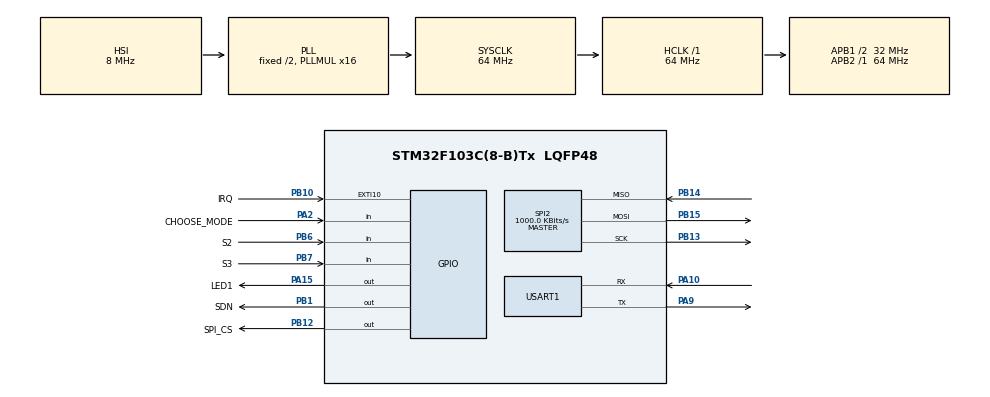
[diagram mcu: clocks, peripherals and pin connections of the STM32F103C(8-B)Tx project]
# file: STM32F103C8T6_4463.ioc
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Mcu.Family=STM32F1
Mcu.Name=STM32F103C(8-B)Tx
Mcu.Package=LQFP48
NVIC.EXTI15_10_IRQn=true\:0\:0\:false\:false\:true\:true\:true\:true
NVIC.PriorityGroup=NVIC_PRIORITYGROUP_4
PA10.Mode=Asynchronous
PA10.Signal=USART1_RX
PA13.Mode=Serial_Wire
PA13.Signal=SYS_JTMS-SWDIO
PA14.Mode=Serial_Wire
PA14.Signal=SYS_JTCK-SWCLK
PA15.GPIO_Label=LED1
PA15.GPIO_Speed=GPIO_SPEED_FREQ_LOW
PA15.PinState=GPIO_PIN_SET
PA15.Signal=GPIO_Output
PA2.GPIO_Label=CHOOSE_MODE
PA2.GPIO_PuPd=GPIO_PULLUP
PA2.Signal=GPIO_Input
PA9.Mode=Asynchronous
PA9.Signal=USART1_TX
PB1.GPIO_Label=SDN
PB1.GPIO_Speed=GPIO_SPEED_FREQ_HIGH
PB1.Signal=GPIO_Output
PB10.GPIO_Label=IRQ
PB10.GPIO_ModeDefaultEXTI=GPIO_MODE_IT_FALLING
PB10.GPIO_PuPd=GPIO_PULLUP
PB10.Signal=GPXTI10
PB12.GPIO_Label=SPI_CS
PB12.GPIO_Speed=GPIO_SPEED_FREQ_HIGH
PB12.PinState=GPIO_PIN_SET
PB12.Signal=GPIO_Output
PB13.Mode=Full_Duplex_Master
PB13.Signal=SPI2_SCK
PB14.Mode=Full_Duplex_Master
PB14.Signal=SPI2_MISO
PB15.Mode=Full_Duplex_Master
PB15.Signal=SPI2_MOSI
PB6.GPIO_Label=S2
PB6.GPIO_PuPd=GPIO_PULLUP
PB6.Signal=GPIO_Input
PB7.GPIO_Label=S3
PB7.GPIO_PuPd=GPIO_PULLUP
PB7.Signal=GPIO_Input
ProjectManager.HeapSize=0x200
ProjectManager.StackSize=0x400
ProjectManager.TargetToolchain=STM32CubeIDE
RCC.AHBFreq_Value=64000000
RCC.APB1CLKDivider=RCC_HCLK_DIV2
RCC.APB1Freq_Value=32000000
RCC.APB1TimFreq_Value=64000000
RCC.APB2Freq_Value=64000000
RCC.APB2TimFreq_Value=64000000
RCC.HCLKFreq_Value=64000000
RCC.PLLMUL=RCC_PLL_MUL16
RCC.SYSCLKFreq_VALUE=64000000
RCC.SYSCLKSource=RCC_SYSCLKSOURCE_PLLCLK
RCC.USBFreq_Value=64000000
SPI2.BaudRatePrescaler=SPI_BAUDRATEPRESCALER_32
SPI2.CalculateBaudRate=1000.0 KBits/s
SPI2.Direction=SPI_DIRECTION_2LINES
SPI2.Mode=SPI_MODE_MASTER
SPI2.VirtualType=VM_MASTER
USART1.VirtualMode=VM_ASYNC
board=custom

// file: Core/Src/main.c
/* USER CODE BEGIN Header */
/**
 ******************************************************************************
 * @file           : main.c
 * @brief          : Wf4463 无线收发
 *                   发送端 / 接收端 由 CHOOSE_MODE 引脚电平切换（高=TX，低=RX）
 ******************************************************************************
 */
/* USER CODE END Header */
#include "main.h"
#include "spi.h"
#include "usart.h"
#include "gpio.h"

/* USER CODE BEGIN Includes */

#include <stdio.h>
#include <string.h>
#include "wf4463_app.h"

/* USER CODE END Includes */

/* USER CODE BEGIN PTD */

/* 单个按键的运行时状态 */
typedef struct
{
    GPIO_TypeDef *port;        /* 端口 */
    uint16_t      pin;         /* 引脚 */
    const char   *name;        /* 打印用名字 */
    uint8_t       raw;         /* 上一次采样电平：0=按下 1=松开 */
    uint8_t       stable;      /* 消抖确认后的电平 */
    uint32_t      changeTick;  /* 采样电平最后一次变化的时刻 */
    uint32_t      downTick;    /* 本次按下的时刻（用于算按住时长） */
} Key_t;

/* USER CODE END PTD */

/* USER CODE BEGIN PD */

/* ============================================================
 * 角色选择（硬件跳线，单脚）：
 *   CHOOSE_MODE 高电平 → 发送端 (TX)
 *   CHOOSE_MODE 低电平 → 接收端 (RX)
 *   引脚内部上拉，悬空默认即为高电平 = 发送端
 *
 * 引脚由 main.h 中的 CHOOSE_MODE_Pin / CHOOSE_MODE_GPIO_Port
 * 决定，换板换脚只改 main.h，无需改本文件。
 * ============================================================ */
#define ROLE_TX           1
#define ROLE_RX           2

#define APP_PACKET_LEN    12        /* "WF HELLO 001" = 12 字节 */
#define APP_CHANNEL       0

//应答帧定义
#define ACK_HEAD_OK  0xA5  /*帧头：接收成功*/
#define ACK_HEAD_FAIL 0x5A /*帧头：接收失败*/
#define ACK_SEQ_OFS 9 /*WF  HELLO,共九字节，序号从第九字节开始*/
#define ACK_TIMEOUT_MS 100 /*主机等应答的时间*/
#define ACK_ERR_LEN 0x01 /*错误码：长度/格式错误*/

/* ---------- 按键扫描参数 ---------- */
#define KEY_NUM           2     /* 按键个数：S2、S3 */
#define KEY_DEBOUNCE_MS   20    /* 消抖时间（ms），机械抖动一般 < 20ms */
#define KEY_DOWN          0    /* 归一化电平：0 = 按下（硬件低有效） */
#define KEY_UP            1   /* 归一化电平：1 = 松开 */

/* ---------- 工作模式 ---------- */
#define MODE_RAW_RX       0    /* 直收：解调比特流从 GPIO1 输出 */
#define MODE_PACKET       1    /* 双向包收发（原有逻辑） */
#define MODE_SLEEP        2    /* 上电休眠中，还没按过 S2/S3（单向，出不去回不来） */

/* ---------- 上电休眠档（编译期四选一） ----------
 * BOOT_LP_ENABLE 置 0：编译结果与改造前完全一致（上电直接直收、LED 常亮），
 *                      用于 A/B 对比或紧急回退。
 * 档位四选一：
 *   WF4463_LP_STANDBY    40 nA   SLEEP，WUT 与 32k 全关
 *   WF4463_LP_SLEEP_RC   740 nA  SLEEP + WUT + 32k 内部 RC
 *   WF4463_LP_SENSOR     ~1 µA   SLEEP + 32k RC + 低电压检测
 *   WF4463_LP_SHUTDOWN   30 nA   SDN 拉高，寄存器全丢（首次按键要冷启动 ~120 ms）
 * 本工程不用 WUT 唤醒，周期只决定"定时器多久跑一轮"，
 * 到期也留在 SLEEP 只置标志，不会自己跳回 READY(1.8 mA)。
 */
#define BOOT_LP_ENABLE     1
#define BOOT_LP_MODE       WF4463_LP_SHUTDOWN
#define BOOT_LP_WUT_MS     3600000   /* 1 小时 */

/* ---------- LED1（PA15，低电平点亮） ---------- */
#define LED_ON()          HAL_GPIO_WritePin(LED1_GPIO_Port, LED1_Pin, GPIO_PIN_RESET)
#define LED_OFF()         HAL_GPIO_WritePin(LED1_GPIO_Port, LED1_Pin, GPIO_PIN_SET)
#define LED_FLASH_MS      80   /* 收到包 / 收到 ACK 的短闪时长 */

/* USER CODE END PD */

/* USER CODE BEGIN PV */

static uint8_t  txBuf[APP_PACKET_LEN + 1];   /* +1 给字符串结束符 */
static uint8_t  rxBuf[64];
static uint16_t txSeq = 0;
static uint8_t  gRole = ROLE_RX;             /* 当前角色：ROLE_TX / ROLE_RX */
static uint8_t ackBuf[8];                    /*应答帧缓冲区*/
static uint32_t nextTx = 0;                  /* 下一次发送的节拍时刻（ms），切换模式时清 0 */

static uint32_t ledOffTick = 0;              /* LED 定时熄灭时刻（0 = 无定时） */
static uint8_t  ledSteady  = 0;              /* 1 = 常亮（直收模式），忽略定时熄灭 */

/* 按键表：上电默认松开 */
static Key_t s_keys[KEY_NUM] =
{
    { S2_GPIO_Port, S2_Pin, "S2", KEY_UP, KEY_UP, 0, 0 },
    { S3_GPIO_Port, S3_Pin, "S3", KEY_UP, KEY_UP, 0, 0 },
};

/* 当前模式与按键请求的目标模式（上电默认直收） */
static uint8_t g_mode    = MODE_RAW_RX;
static uint8_t g_modeReq = MODE_RAW_RX;

/* USER CODE END PV */

void SystemClock_Config(void);
/* USER CODE BEGIN PFP */

static uint8_t Role_Detect(void);/*双向包主从模式选择*/
static void    Key_Scan(void);/*按键扫描，S2直收模式，S3双向包正常收发模式*/
static void    Mode_Update(void);/*模式切换，直收模式和双向包模式*/
static void    RawRx_Loop(void);
static void    Led_Init(void);
static void    Led_Steady(uint8_t on);/*常亮长灭1/0*/
static void    Led_Flash(uint32_t ms);/*点亮ms后熄灭*/
static void    Led_Poll(void);

/* USER CODE END PFP */

int main(void)
{

  /* MCU Configuration--------------------------------------------------------*/

  /* Reset of all peripherals, Initializes the Flash interface and the Systick. */
  HAL_Init();

  /* Configure the system clock */
  SystemClock_Config();

  /* Initialize all configured peripherals */
  MX_GPIO_Init();
  MX_SPI2_Init();
  MX_USART1_UART_Init();
  /* USER CODE BEGIN 2 */

  /* LED1 在 MX_GPIO_Init() 之后再配：此时 GPIOA 时钟已开 */
  Led_Init();

  /* ---- 角色选择：CHOOSE_MODE 高 = 发送，低 = 接收 ----
   * CHOOSE_MODE 已在 MX_GPIO_Init() 中配置为输入 + 上拉，这里只需读取 */
  gRole = Role_Detect();

  printf("ROLE pin: CHOOSE_MODE=%d -> %s\r\n",
         (int)HAL_GPIO_ReadPin(CHOOSE_MODE_GPIO_Port, CHOOSE_MODE_Pin),
         (gRole == ROLE_TX) ? "TRANSMITTER" : "RECEIVER");

  printf("\r\n===== Wf4463 %s =====\r\n",
         (gRole == ROLE_TX) ? "TRANSMITTER" : "RECEIVER");

  /* 按键自检：松开时读回应为 1（内部上拉），按下为 0 */
  printf("KEY idle: S2(PB6)=%d S3(PB7)=%d  (1=release 0=pressed)\r\n",
         (int)HAL_GPIO_ReadPin(S2_GPIO_Port, S2_Pin),
         (int)HAL_GPIO_ReadPin(S3_GPIO_Port, S3_Pin));

  int8_t rc = wf4463_init();
  printf("wf4463_init rc=%d\r\n", rc);
  if (rc != WF4463_OK)
  {
      printf("init failed, check wiring/power\r\n");
      while (1) { HAL_Delay(1000); }
  }

  wf4463_print_info();

  wf4463_diag_t diag;
  if (wf4463_diag(&diag) == WF4463_OK)
  {
      printf("DIAG cts=0x%02X part=0x%04X rev=0x%02X xo=0x%02X pa=0x%02X state=%u rssi=%u\r\n",
             diag.cts, diag.part, diag.chiprev, diag.xo_tune, diag.pa_pwr,
             diag.state, diag.rssi_raw);
  }

  /* ---- 上电：先按宏把芯片配成休眠，等 S2 / S3 ----
   * 一旦按键进入工作模式，之后就不再回到休眠（MODE_SLEEP 是单向出口）。
   * S2 = 直收，S3 = 双向包，两者之间仍可随时互切（在 Mode_Update() 里执行）。 */
#if BOOT_LP_ENABLE
  rc = wf4463_lp_enter(BOOT_LP_MODE, BOOT_LP_WUT_MS);
  Led_Steady(0);                    /* 休眠态 LED 必须是灭的 */
  g_mode    = MODE_SLEEP;
  g_modeReq = MODE_SLEEP;
  printf("[BOOT] LP=%s rc=%d   waiting S2=RAW / S3=PACKET\r\n",
         wf4463_lp_name(BOOT_LP_MODE), rc);
#else
  g_mode    = MODE_RAW_RX;
  g_modeReq = MODE_RAW_RX;
  rc = wf4463_rawrx_start(APP_CHANNEL);
  Led_Steady(1);                    /* 上电默认直收 → LED1 常亮 */
  printf("[MODE] RAW RX (GPIO1=RX_DATA) rc=%d   [S2=RAW  S3=PACKET]\r\n", rc);
#endif

  /* USER CODE END 2 */

  /* Infinite loop */
    while (1) {

    /* USER CODE BEGIN 3 */
    /* ---- 轮询按键：TX / RX 两种角色都会扫描 ---- */
    Key_Scan();

    /* 按键请求的模式变更在这里落地（安全点执行，不在中断里做重活） */
    Mode_Update();

    /* LED 定时熄灭（非阻塞，直收常亮时由 ledSteady 挡掉） */
    Led_Poll();

    /* ---- 休眠态：只扫按键，一律不碰芯片 ----
       任何一次 SPI 访问都会把芯片从 SLEEP 拉回 SPI ACTIVE(1.35 mA)，
       所以这里连状态查询都不做。按下 S2/S3 后的唤醒由上面的
       Mode_Update() 负责。 */
    if (g_mode == MODE_SLEEP)
    {
        continue;
    }

    /* ---- 直收模式：芯片自己收，比特流从 GPIO1 出，MCU 只做保活 ---- */
    if (g_mode == MODE_RAW_RX)
    {
        RawRx_Loop();
        continue;
    }

    if (gRole == ROLE_TX)
    {
        /* ================= 发送端 ================= */
        uint32_t now = HAL_GetTick();

        if ((int32_t)(now - nextTx) >= 0)
        {
            txSeq++;
            if (txSeq > 999) { txSeq = 1; }   /* 序号循环 001~999，保证包长固定 */

            /* 负载：WF HELLO 001 / 002 / 003 ... */
            memset(txBuf, 0, sizeof(txBuf));
            snprintf((char *)txBuf, sizeof(txBuf), "WF HELLO %03u", (unsigned)txSeq);

            printf("TX #%u > %s\r\n", txSeq, (char *)txBuf);

            int8_t txRc = wf4463_tx(APP_CHANNEL, txBuf, APP_PACKET_LEN);
            if (txRc != WF4463_OK)
            {
                printf("  tx rc=%d\r\n", txRc);
            }
            /*等待从机应答*/
            {
            	uint8_t ackLen = 0;
            	int16_t ackN;
            	wf4463_rx_start(APP_CHANNEL); /* 发完芯片在 READY，必须先切 RX */
            	ackN = wf4463_rx_fetch(ackBuf,sizeof(ackBuf),&ackLen,ACK_TIMEOUT_MS);
            	if((ackN > 0) && (ackLen == 4) && (ackBuf[0] == ACK_HEAD_OK)&&(memcmp(&ackBuf[1],&txBuf[ACK_SEQ_OFS],3) == 0))
            	{
            		printf("  ACK  OK  < 0x%02x  %c%c%c\r\n",ackBuf[0],ackBuf[1],ackBuf[2],ackBuf[3] );
            		Led_Flash(LED_FLASH_MS);   /* 主机：收到匹配的 ACK，短闪 */
            	}
            	else if((ackN > 0) && (ackLen == 5) && (ackBuf[0] == ACK_HEAD_FAIL) && (memcmp(&ackBuf[1],&txBuf[ACK_SEQ_OFS],3) == 0) )
            	{
            		printf(" ACK  FAIL code = 0x%02x\r\n ",ackBuf[4]);
            	}
            	else if(ackN == WF4463_ERR_TIMEOUT)
				{
            		printf(" ACK timeout \r\n");
				}
            	else
            	{
            		printf("  ACK question n=%d len=%u head=0x%02X\r\n",
            		                           ackN, ackLen, (ackN > 0) ? ackBuf[0] : 0);
            	}
            }
            nextTx = now + 500;
        }
    }
    else
    {
        /* ================= 接收端 ================= */
        static uint16_t rxCnt = 0;
//      static uint32_t lastHb = 0;
        uint8_t  outLen = 0;
        int16_t  n;

        n = wf4463_rx_fetch(rxBuf, sizeof(rxBuf), &outLen, 50);

        if (n > 0)
        {
        	/*先回应答，在打印日志*/
        	uint8_t ackLen = 0;
        	if((outLen >= APP_PACKET_LEN) && (memcmp(rxBuf,"WF HELLO ",9) == 0))
        	{
        		ackBuf[0] = ACK_HEAD_OK;
        		ackBuf[1] = rxBuf[ACK_SEQ_OFS + 0];
        		ackBuf[2] = rxBuf[ACK_SEQ_OFS +1 ];
        	 	ackBuf[3] = rxBuf[ACK_SEQ_OFS + 2];
        	 	ackLen = 4;
        	}
        	else
        	{
        		ackBuf[0] = ACK_HEAD_FAIL;
        		ackBuf[1] = '?';
        		ackBuf[2] = '?';
        		ackBuf[3] = '?';
        		ackBuf[4] = ACK_ERR_LEN;
        		ackLen = 5;
        	}
        	wf4463_tx(APP_CHANNEL, ackBuf,ackLen);

        	/* 从机：收到有效包并已回 ACK，短闪；其余情况不亮 */
        	if (ackBuf[0] == ACK_HEAD_OK)
        	{
        		Led_Flash(LED_FLASH_MS);
        	}

        	wf4463_rx_start(APP_CHANNEL);/*进入接收*/

            /* 判断是否全为可打印 ASCII，是则按文本显示，否则按十六进制 */
            bool printable = (outLen > 0);
            for (uint8_t i = 0; i < outLen; i++)
            {
                if ((rxBuf[i] < 0x20) || (rxBuf[i] > 0x7E))
                {
                    printable = false;
                    break;
                }
            }

            if (printable)
            {
                rxCnt++;
                rxBuf[outLen] = '\0';
                printf("RX #%u < \"%s\" | len=%u  | ack=%s \r\n",
                       rxCnt, (char *)rxBuf, outLen,(ackLen==4) ? "ok" : "fail");
            }
            else
            {
                printf("BAD < ");
                for (uint8_t i = 0; (i < outLen) && (i < 8); i++) { printf("%02X ", rxBuf[i]); }
                printf("| len=%u\r\n", outLen);
            }

            /* 收完一包芯片回到 READY，必须重新进入接收 */
          //  wf4463_rx_start(APP_CHANNEL);
        }
        else if (n != WF4463_ERR_TIMEOUT)
        {
            /* CRC 错 / 无包 / FIFO 异常：打印并重启接收 */
            printf("RX err %d\r\n", n);
            wf4463_rx_start(APP_CHANNEL);
        }
        else
        {
            /* 超时：确认芯片仍处于 RX，不在则重新武装 */
            uint8_t st = 0;
            wf4463_device_state(&st);
            if (st != 8u)
            {
                wf4463_rx_start(APP_CHANNEL);
            }
        }

    }
    }
  /* USER CODE END 3 */
}

void SystemClock_Config(void)
{
  RCC_OscInitTypeDef RCC_OscInitStruct = {0};
  RCC_ClkInitTypeDef RCC_ClkInitStruct = {0};

  /** Initializes the RCC Oscillators according to the specified parameters
  * in the RCC_OscInitTypeDef structure.
  */
  RCC_OscInitStruct.OscillatorType = RCC_OSCILLATORTYPE_HSI;
  RCC_OscInitStruct.HSIState = RCC_HSI_ON;
  RCC_OscInitStruct.HSICalibrationValue = RCC_HSICALIBRATION_DEFAULT;
  RCC_OscInitStruct.PLL.PLLState = RCC_PLL_ON;
  RCC_OscInitStruct.PLL.PLLSource = RCC_PLLSOURCE_HSI_DIV2;
  RCC_OscInitStruct.PLL.PLLMUL = RCC_PLL_MUL16;
  if (HAL_RCC_OscConfig(&RCC_OscInitStruct) != HAL_OK)
  {
    Error_Handler();
  }

  /** Initializes the CPU, AHB and APB buses clocks
  */
  RCC_ClkInitStruct.ClockType = RCC_CLOCKTYPE_HCLK|RCC_CLOCKTYPE_SYSCLK
                              |RCC_CLOCKTYPE_PCLK1|RCC_CLOCKTYPE_PCLK2;
  RCC_ClkInitStruct.SYSCLKSource = RCC_SYSCLKSOURCE_PLLCLK;
  RCC_ClkInitStruct.AHBCLKDivider = RCC_SYSCLK_DIV1;
  RCC_ClkInitStruct.APB1CLKDivider = RCC_HCLK_DIV2;
  RCC_ClkInitStruct.APB2CLKDivider = RCC_HCLK_DIV1;

  if (HAL_RCC_ClockConfig(&RCC_ClkInitStruct, FLASH_LATENCY_2) != HAL_OK)
  {
    Error_Handler();
  }
}

/* USER CODE BEGIN 4 */

/* CHOOSE_MODE 的 GPIO 已由 CubeMX 的 MX_GPIO_Init() 配成输入+上拉，
 * 这里只做电平判读，不再重复初始化 */

/* 高电平 → ROLE_TX；低电平 → ROLE_RX */
static uint8_t Role_Detect(void)
{
    if (HAL_GPIO_ReadPin(CHOOSE_MODE_GPIO_Port, CHOOSE_MODE_Pin) == GPIO_PIN_SET)
    {
        return ROLE_TX;            /* CHOOSE_MODE 高 → 发送 */
    }
    return ROLE_RX;                /* CHOOSE_MODE 低 → 接收 */
}

int __io_putchar(int ch)
{
    HAL_UART_Transmit(&huart1, (uint8_t *)&ch, 1, HAL_MAX_DELAY);
    return ch;
}

/* ============================================================
 * 按键扫描（轮询方式，放在 while(1) 里反复调用）
 *
 * 规则：
 *   1. 引脚读回低电平 = 按下，统一归一化成 0=按下 / 1=松开；
 *   2. 采样电平一变就重新开始计时，电平稳定保持 KEY_DEBOUNCE_MS
 *      才认为是真正的状态变化（消抖）；
 *   3. 只在"确认变化"的那一刻打印一次，不会一直刷屏；
 *   4. 全程不阻塞、不用 HAL_Delay，可直接放进任何主循环。
 * ============================================================ */
static void Key_Scan(void)
{
    uint32_t now = HAL_GetTick();

    for (uint8_t i = 0; i < KEY_NUM; i++)
    {
        Key_t *k = &s_keys[i];

        /* 硬件是低有效，这里转成 0=按下 / 1=松开，便于阅读 */
        uint8_t raw = (HAL_GPIO_ReadPin(k->port, k->pin) == GPIO_PIN_RESET) ? KEY_DOWN : KEY_UP;

        if (raw != k->raw)                    /* 电平刚变化：重新开始消抖计时 */
        {
            k->raw        = raw;
            k->changeTick = now;
            continue;
        }

        if (raw == k->stable)                 /* 与已确认的状态相同：没有事件 */
        {
            continue;
        }

        if ((uint32_t)(now - k->changeTick) < KEY_DEBOUNCE_MS)   /* 仍在抖动窗口内 */
        {
            continue;
        }

        /* 消抖通过，确认一次状态变化 */
        k->stable = raw;

        if (k->stable == KEY_DOWN)
        {
            k->downTick = now;
            printf("[KEY] %s DOWN\r\n", k->name);

            /* S2 -> 直收，S3 -> 双向包（真正的切换在 Mode_Update 里做） */
            g_modeReq = (i == 0u) ? MODE_RAW_RX : MODE_PACKET;
        }
        else
        {
            printf("[KEY] %s UP   (held %lu ms)\r\n",
                   k->name, (unsigned long)(now - k->downTick));
        }
    }
}

/* ============================================================
 * 模式切换：把 g_modeReq 落到芯片上
 *
 * 两种模式共用同一份射频配置（radio_config.h），切换时只重配
 * GPIO_PIN_CFG 和接收状态，不重写属性表 —— 所以不存在两套参数
 * 互相残留的问题，来回切多少次结果都一样。
 * ============================================================ */
static void Mode_Update(void)
{
    wf4463_diag_t d;

    if (g_modeReq == g_mode)
    {
        return;
    }

    /* ---- 从休眠态出来：先把芯片叫醒，再进目标模式 ----
     * SLEEP 档：一次 SPI 访问就会让它自动回到 SPI ACTIVE，几微秒；
     * SHUTDOWN 档：寄存器已丢失，必须先冷启动重配（约 120 ms）。 */
    if (g_mode == MODE_SLEEP)
    {
        int8_t wrc = wf4463_lp_wake();

        printf("[WAKE] %s\r\n", (wrc == WF4463_OK) ? "ok" : "FAILED");

        if (wrc != WF4463_OK)
        {
            /* 唤醒失败就不要硬走：留在休眠态，下次按键再试。
               直接把 g_mode 改成工作模式会对着一个没配置的芯片发命令。 */
            g_modeReq = MODE_SLEEP;
            return;
        }
    }

    g_mode = g_modeReq;

    /* 每次切换模式都把双向包的发送序号和发送节拍清 0：
       切回包模式后立刻从 #001 重新开始，不用等上一个 500ms 节拍 */
    txSeq  = 0;
    nextTx = 0;

    if (g_mode == MODE_RAW_RX)
    {
        printf("[MODE] -> RAW RX (GPIO1=RX_DATA)\r\n");
        wf4463_rawrx_start(APP_CHANNEL);
        Led_Steady(1);                  /* 直收模式：LED1 常亮 */
    }
    else
    {
        printf("[MODE] -> PACKET%s  (txSeq reset)\r\n", (gRole == ROLE_TX) ? " (TX)" : " (RX)");
        wf4463_packet_resume(APP_CHANNEL);
        Led_Steady(0);                  /* 包模式：交给收包/收 ACK 短闪 */
    }

    /* 回读校验：XO_TUNE / PA 功率档 / 芯片状态，一眼看出配置有没有写坏 */
    if (wf4463_diag(&d) == WF4463_OK)
    {
        printf("[MODE] chk xo=0x%02X pa=0x%02X state=%u\r\n",
               d.xo_tune, d.pa_pwr, d.state);
    }
}

/* ============================================================
 * 直收模式的主循环
 *
 * 芯片自己把比特流送到 GPIO1，MCU 不参与解码，只做两件事：
 *   1. 什么都不用干（数据在引脚上，用逻辑分析仪/示波器看）
 *   2. 每秒确认一次芯片没掉出 RX，掉了就重新武装
 * ============================================================ */
static void RawRx_Loop(void)
{
    static uint32_t nextCheck = 0;
    uint32_t now = HAL_GetTick();
    uint8_t  st  = 0;

    if ((int32_t)(now - nextCheck) < 0)
    {
        return;
    }
    nextCheck = now + 1000u;

    if ((wf4463_device_state(&st) == WF4463_OK) && (st != 8u))
    {
        printf("[RAW] state=%u, re-arm\r\n", (unsigned)st);
        wf4463_rawrx_start(APP_CHANNEL);
    }
}

/* ============================================================
 * LED1（PA15，低电平点亮）
 *
 * 用法两种，互斥：
 *   Led_Steady(1)     常亮 —— 直收模式
 *   Led_Flash(80)     短闪 —— 收到包 / 收到 ACK
 * 全程非阻塞：Flash 只负责点亮并记下到期时刻，由 Led_Poll()
 * 在主循环里熄灭，不会占用主循环（从机等包只有 50ms、
 * 主机等 ACK 只有 100ms，绝不能在这里 HAL_Delay）。
 * ============================================================ */
static void Led_Init(void)
{
    GPIO_InitTypeDef g = {0};

    LED_OFF();                          /* 先写高电平（灭），避免上电闪一下 */

    g.Pin   = LED1_Pin;
    g.Mode  = GPIO_MODE_OUTPUT_PP;
    g.Pull  = GPIO_NOPULL;
    g.Speed = GPIO_SPEED_FREQ_LOW;
    HAL_GPIO_Init(LED1_GPIO_Port, &g);

    LED_OFF();
}

/* 常亮开关：on=1 常亮并屏蔽定时熄灭；on=0 熄灭并交回定时逻辑 */
static void Led_Steady(uint8_t on)
{
    ledSteady  = on;
    ledOffTick = 0;

    if (on)
    {
        LED_ON();
    }
    else
    {
        LED_OFF();
    }
}

/* 点亮 ms 毫秒，由 Led_Poll() 到期熄灭；常亮期间调用无效 */
static void Led_Flash(uint32_t ms)
{
    if (ledSteady)
    {
        return;
    }

    LED_ON();
    ledOffTick = HAL_GetTick() + ms;
}

/* 主循环调用：到点熄灭 */
static void Led_Poll(void)
{
    if (ledSteady || (ledOffTick == 0u))
    {
        return;
    }

    if ((int32_t)(HAL_GetTick() - ledOffTick) >= 0)
    {
        LED_OFF();
        ledOffTick = 0;
    }
}

/* USER CODE END 4 */

void Error_Handler(void)
{
    __disable_irq();
    while (1) {
    }
}
